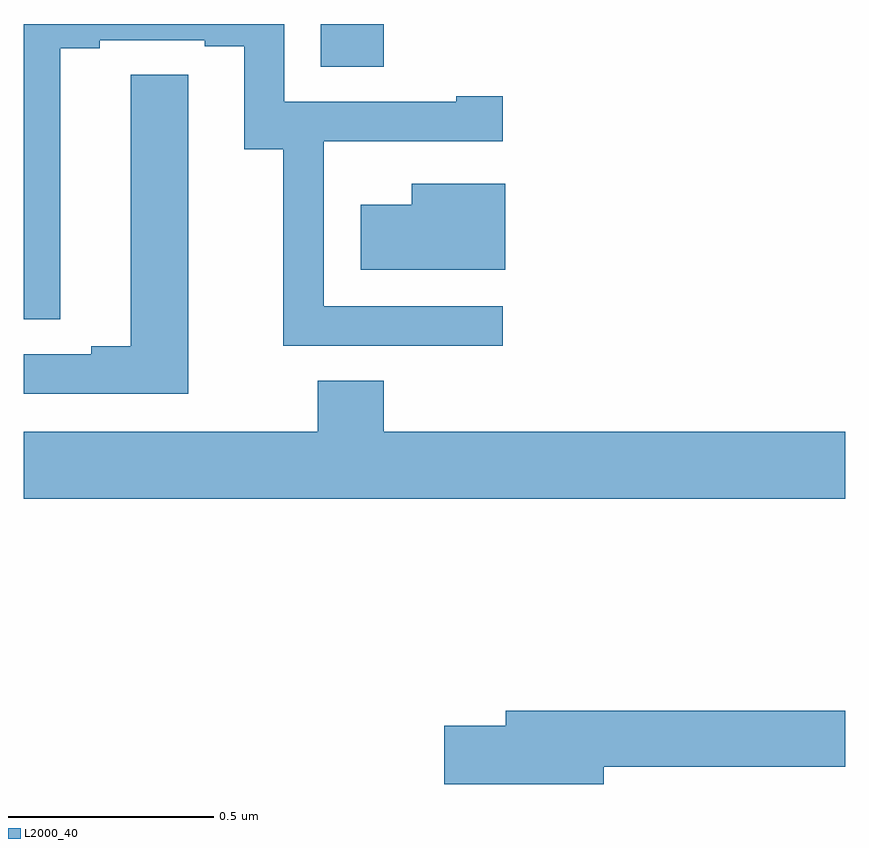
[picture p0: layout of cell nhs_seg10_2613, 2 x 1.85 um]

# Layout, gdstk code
import gdstk
lib = gdstk.Library(unit=1e-6, precision=1e-09)
def R(c, l, rs):  # rectangles x0, y0, x1, y1
    for r in rs: c.add(gdstk.rectangle(r[:2], r[2:], *l))
def P(c, l, *ps):  # polygons
    for p in ps: c.add(gdstk.Polygon(p, *l))
L2000_40 = (2000, 40)

nhs_seg10_2613 = lib.new_cell('nhs_seg10_2613')
R(nhs_seg10_2613, L2000_40, [(143.723,1273.396,143.876,1273.5)])
P(nhs_seg10_2613, L2000_40, [(144.166,1272.813),(143.73,1272.813),(143.73,1273.214),(143.732,1273.214),(143.732,1273.215),(144.166,1273.215),(144.166,1273.324),(144.053,1273.324),(144.053,1273.311),(143.634,1273.311),(143.634,1273.5),(143,1273.5),(143,1272.781),(143.089,1272.781),(143.089,1273.441),(143.185,1273.441),(143.185,1273.461),(143.441,1273.461),(143.441,1273.446),(143.537,1273.446),(143.537,1273.195),(143.632,1273.195),(143.632,1272.717),(144.166,1272.717)],
  [(143.401,1273.268),(143.4,1273.268),(143.4,1273.376),(143.261,1273.376),(143.261,1272.716),(143.165,1272.716),(143.165,1272.696),(143,1272.696),(143,1272.6),(143.401,1272.6)],
  [(144.172,1273.111),(143.945,1273.111),(143.945,1273.06),(143.82,1273.06),(143.82,1272.902),(144.172,1272.902)],
  [(145,1272.508),(143.876,1272.508),(143.876,1272.632),(143.716,1272.632),(143.716,1272.508),(143,1272.508),(143,1272.344),(145,1272.344)],
  [(144.412,1271.692),(145,1271.692),(145,1271.828),(144.173,1271.828),(144.173,1271.792),(144.024,1271.792),(144.024,1271.65),(144.412,1271.65)])

lib.write_gds('nhs_seg10_2613.gds')
